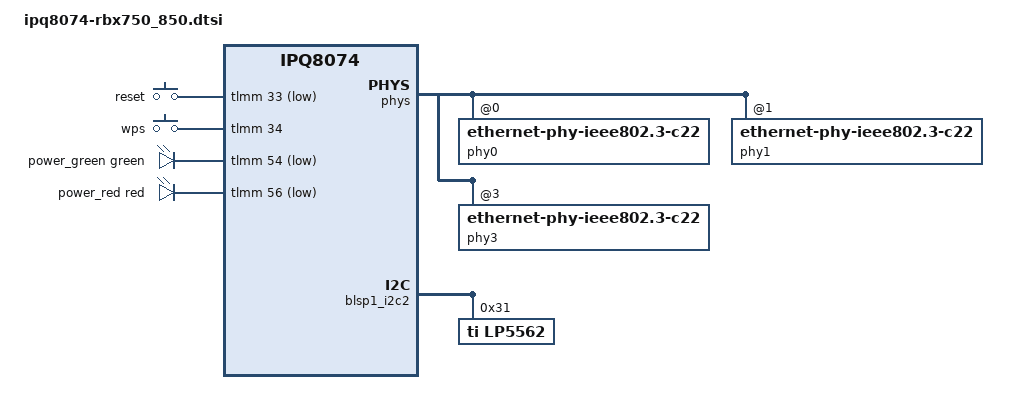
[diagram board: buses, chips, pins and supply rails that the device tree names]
// SPDX-License-Identifier: GPL-2.0-or-later OR MIT
/*
 * Copyright (c) 2026 Michael Lotz <mmlr@mlotz.ch>
 */

/dts-v1/;

#include "ipq8074-netgear-orbi.dtsi"
#include "ipq8074-nss.dtsi"
#include <dt-bindings/gpio/gpio.h>
#include <dt-bindings/input/input.h>
#include <dt-bindings/leds/common.h>

/ {
	aliases {
		led-boot = &led_front_white;
		led-failsafe = &led_front_red;
		led-upgrade = &led_front_blue;
	};

	chosen {
		bootargs-append = " ubi.mtd=rootfs root=/dev/ubiblock0_1";
	};

	keys {
		compatible = "gpio-keys";

		reset {
			label = "reset";
			gpios = <&tlmm 33 GPIO_ACTIVE_LOW>;
			linux,code = <KEY_RESTART>;
		};

		wps {
			label = "wps";
			gpios = <&tlmm 34 GPIO_ACTIVE_HIGH>;
			linux,code = <KEY_WPS_BUTTON>;
		};
	};

	leds {
		compatible = "gpio-leds";

		power_green {
			gpios = <&tlmm 54 GPIO_ACTIVE_LOW>;
			color = <LED_COLOR_ID_GREEN>;
			function = LED_FUNCTION_POWER;
			linux,default-trigger = "default-on";
		};

		power_red {
			gpios = <&tlmm 56 GPIO_ACTIVE_LOW>;
			color = <LED_COLOR_ID_RED>;
			function = LED_FUNCTION_POWER;
		};
	};
};

&qpic_nand {
	/delete-node/ partitions;
};

&phys {
	phy0: ethernet-phy@0 {
		compatible = "ethernet-phy-ieee802.3-c22";
		reg = <0>;
	};

	phy1: ethernet-phy@1 {
		compatible = "ethernet-phy-ieee802.3-c22";
		reg = <1>;
	};

	phy3: ethernet-phy@3 {
		compatible = "ethernet-phy-ieee802.3-c22";
		reg = <3>;
	};
};

&blsp1_i2c2 {
	status = "okay";

	lp5562@31 {
		compatible = "ti,lp5562";
		reg = <0x31>;
		clock-mode = [02];
		#address-cells = <1>;
		#size-cells = <0>;

		led_front_red: led@0 {
			chan-name = "lp5562_red";
			led-cur = [20];
			max-cur = [60];
			color = <LED_COLOR_ID_RED>;
			function = LED_FUNCTION_STATUS;
			reg = <0>;
		};

		led_front_green: led@1 {
			chan-name = "lp5562_green";
			led-cur = [20];
			max-cur = [60];
			color = <LED_COLOR_ID_GREEN>;
			function = LED_FUNCTION_STATUS;
			reg = <1>;
		};

		led_front_blue: led@2 {
			chan-name = "lp5562_blue";
			led-cur = [20];
			max-cur = [60];
			color = <LED_COLOR_ID_BLUE>;
			function = LED_FUNCTION_STATUS;
			reg = <2>;
		};

		led_front_white: led@3 {
			chan-name = "lp5562_white";
			led-cur = [20];
			max-cur = [60];
			color = <LED_COLOR_ID_WHITE>;
			function = LED_FUNCTION_STATUS;
			reg = <3>;
		};
	};
};
